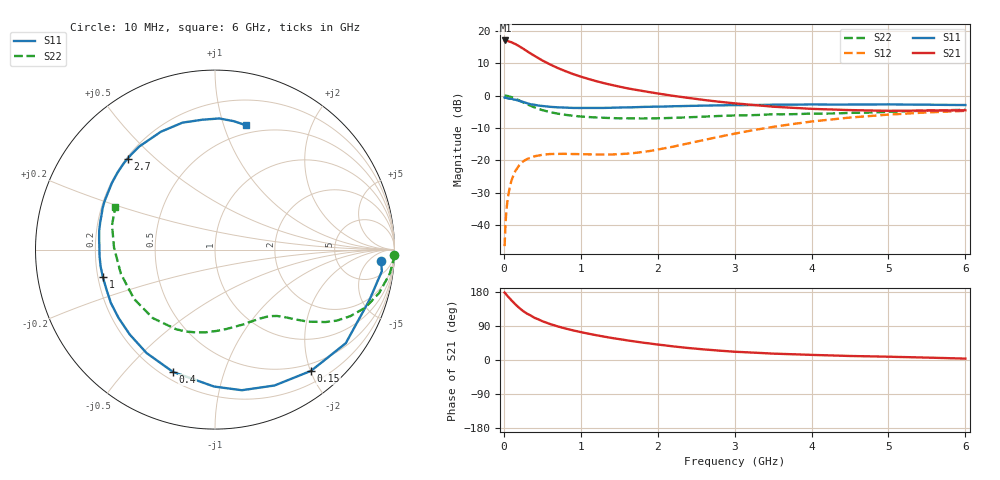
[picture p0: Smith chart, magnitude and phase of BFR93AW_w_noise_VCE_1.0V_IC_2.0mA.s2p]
! Infineon Technologies  Discrete & RF Semiconductors
! BFR93AW
! VCE =  1.0 V,  IC =  2.0 mA
! Common Emitter S-Parameters:  Jan 2017
# GHz  S  MA  R  50
!  f  S11  S21  S12  S22
! GHz  MAG  ANG  MAG  ANG  MAG  ANG  MAG  ANG
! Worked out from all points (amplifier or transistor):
!   77 points, 10 MHz to 6 GHz, reference 50 ohm
!   highest |S21| = 17.0 dB at 20 MHz (marker M1)
!   |S21| within 3 dB of that: start of sweep to 281.3 MHz
!   unconditionally stable (mu >= 1): 1.239 GHz to 2.632 GHz
!   at 130 MHz: K = 0.11, MSG = 20.2 dB, |S12| = -24.3 dB
!   at 2.2 GHz: K = 1.12, MAG = 5.7 dB, |S12| = -15.7 dB
!   at 6 GHz: K = 1.00, MSG = 0.1 dB, |S12| = -4.7 dB
!   lowest NFmin = 1.49 dB at 450 MHz
!   S11 on the Smith chart (normalised r, x): 10 MHz: 15, -13; 150 MHz: 0.38, -2.01; 400 MHz: 0.24, -0.69; 1 GHz: 0.22, -0.12; 2.7 GHz: 0.21, +0.41; 6 GHz: 0.42, +1.19
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0.01  0.9276 -3.8  6.988 177.9  0.0048 85.2  1 -1.6
0.02  0.9374 -7.4  7.044 175.7  0.0097 89.7  0.9963 -3.3
0.05  0.9053 -18.0  6.926 168.4  0.0257 80.1  0.9835 -7.7
0.1  0.8961 -35.6  6.623 157.2  0.0494 70.4  0.9462 -14.8
0.15  0.8618 -51.6  6.206 146.8  0.0691 62.1  0.8966 -21.2
0.2  0.8267 -66.3  5.735 137.5  0.0843 54.9  0.8402 -26.2
0.25  0.7976 -79.2  5.278 129.2  0.0966 49.1  0.7863 -30.2
0.3  0.7629 -90.4  4.821 122.5  0.1052 44.0  0.7353 -33.3
0.4  0.7207 -108.9  4.072 111.2  0.1162 37.0  0.6553 -37.8
0.5  0.691 -123.5  3.472 102.4  0.1224 32.1  0.5964 -40.8
0.6  0.6703 -135.2  3.018 95.0  0.1258 29.1  0.5559 -43.1
0.8  0.652 -152.8  2.374 83.1  0.1266 26.6  0.5048 -47.1
1  0.6433 -166.1  1.956 73.6  0.1253 26.7  0.4754 -51.6
1.1  0.6442 -171.7  1.799 69.5  0.1244 27.7  0.4668 -54.0
1.3  0.6444 178.8  1.552 61.8  0.1234 31.0  0.4542 -59.3
1.6  0.6571 166.9  1.296 51.9  0.1274 38.7  0.447 -68.4
2.1  0.6779 150.2  1.032 38.5  0.1551 51.7  0.4493 -85.5
2.7  0.7024 133.8  0.828 26.4  0.2192 58.1  0.4784 -106.5
3.1  0.7123 124.0  0.741 20.9  0.2727 56.9  0.495 -119.5
4.1  0.7282 102.6  0.618 12.9  0.4094 45.8  0.527 -152.0
5.1  0.7287 86.8  0.583 8.2  0.5165 31.2  0.5659 176.4
6  0.7139 76.0  0.592 3.7  0.5807 18.7  0.6043 156.7
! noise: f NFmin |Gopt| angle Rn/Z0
0.45  1.49  0.44  71  0.2
0.9  1.76  0.41  128  0.21
1.9  3.23  0.56  -159  0.25
2.4  4.18  0.62  -139  0.45
